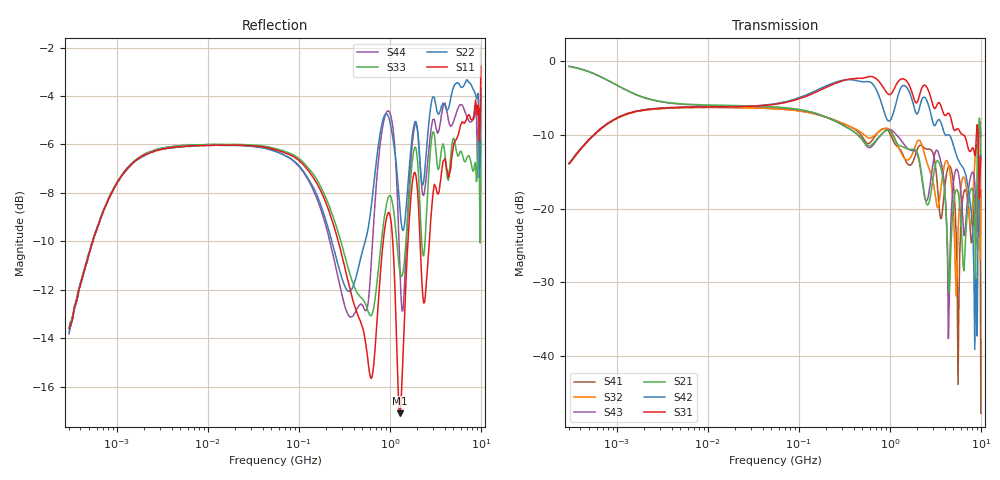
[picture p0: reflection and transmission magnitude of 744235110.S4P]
! This data is being provided by Wuerth Elektronik eiSos GmbH & Co. KG to the industry for analysis.
! Document information:
! Version:rev19a Date: 16/12/2019
! Component information:
! Match Code: WE-CNSW P/N: 744235110 Size: 1812
! Disclaimer:  While Würth Elektronik eiSos has made every reasonable effort to ensure the accuracy
! of the information provided, Würth Elektronik eiSos does not guarantee the exemption of error on the
! data collection measurements, nor does Würth Elektronik eiSos guarantee that the information is current.
! Würth Elektronik eiSos reserves the right to make any adjustments at any time without notice.
! Würth Elektronik eiSos expressly disclaims all implied warranties regarding this measurement data collection.
! Note 1  This data measurement is representative according to the product implementation into the fixture.
! Component behavior is sensitive to implementation into the fixture, which includes board
! materials, trace geometry information, connector pin out, layer connection, use of de-embedding
! techniques, etc.
! Note 2 - The fixture was designed specifically to match the 50 Ohm line impedance, as well as the connector impedance,
! in order to accomplish a reliable measurement without reflections in the trace. Any other implementation of the fixture will change the obtained
! measurement performance. The used fixture behavior was de-embedded to accomplish reliable measurement results.
! The test setup consisted of the following:
!  - Agilent VNA E5071C or E5071B
!  - Calibrations are SOLT (short open load thru)
!  - De-embedding of the SMA's or line cards were included
!  - Equipment Settings -
!  - Sampling - 501 points
!  - IF BW  70 kHz
!  - Averaging  Not used
!  Port 1----->|1|  |2| -----> Port 3
!  |  DUT  |
!  Port 2----->|3|  |4| -----> Port 4
!*VNA Port --> |Port in Datasheet|
! |Port in Datasheet| --> VNA Port
! For further information regarding this testing, please contact
! Wuerth Elektronik eiSos
! Contact: EDA team in QDC
! Email: libraries@we-online.com or libraries@we-online.de
# Hz S dB R 50
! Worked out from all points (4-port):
!   501 points, 300 kHz to 10 GHz, reference 50 ohm
!   strongest paths, dB at 300 kHz, 4.054 MHz, 54.77 MHz, 740.1 MHz, 10 GHz:
!     S31: -13.8, -6.3, -5.8, -2.5, -13.1
!     S42: -13.8, -6.3, -5.7, -4.3, -12.8
!     S21: -0.7, -5.6, -6.2, -10.4, -13.1
!     S43: -0.6, -5.7, -6.2, -10.5, -10.2
!     S32: -13.8, -6.3, -6.4, -9.6, -17.4
!     S41: -13.9, -6.3, -6.4, -9.6, -47.8
!   lowest |S11| = -17.1 dB at 1.285 GHz (marker M1), VSWR 1.32, Z = 64.3 - j7.15 ohm
!   |S11| at or under -10 dB: 271.1 MHz to 846.7 MHz (575.5 MHz wide, 103 % of centre); 1.076 GHz to 1.581 GHz (505.6 MHz wide, 38.1 % of centre); 2.148 GHz to 2.72 GHz (572.4 MHz wide, 23.5 % of centre)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
300000  -13.61 63.5  -0.68 -11.3  -13.77 65.4  -13.90 -114.7
        -0.69 -11.6  -13.77 64.2  -13.91 -114.9  -13.86 65.5
        -13.84 64.8  -13.84 -114.8  -13.59 65.8  -0.66 -11.5
        -13.90 -115.4  -13.81 65.9  -0.64 -11.6  -13.82 64.2
1.285302e9  -17.11 -23.0  -11.44 67.4  -2.50 -26.6  -11.87 -86.6
            -11.43 67.4  -8.56 -32.1  -12.03 -116.2  -3.90 -20.1
            -2.49 -26.6  -12.04 -116.2  -11.21 -23.9  -10.45 70.0
            -11.88 -86.6  -3.89 -20.1  -10.45 70.0  -10.94 -45.9
3.488232e9  -7.93 -40.8  -13.78 -9.9  -5.61 -79.4  -19.96 -170.5
            -13.77 -10.0  -4.72 -49.4  -18.99 128.3  -7.90 -82.9
            -5.59 -79.5  -19.00 128.3  -6.95 -51.5  -12.75 -4.8
            -19.96 -170.8  -7.89 -83.0  -12.75 -4.8  -5.36 -46.0
4.398896e9  -7.37 -62.0  -29.35 -173.9  -7.02 -95.4  -14.30 -8.8
            -29.38 -174.7  -4.53 -67.8  -13.94 -22.3  -9.95 -98.4
            -7.01 -95.5  -13.96 -22.4  -7.48 -70.7  -37.68 -160.7
            -14.28 -9.1  -9.95 -98.5  -37.62 -162.0  -5.00 -70.7
5.35337e9  -5.80 -85.9  -17.47 -27.6  -9.24 -106.6  -23.54 -117.7
           -17.46 -27.8  -3.47 -91.4  -31.98 -40.4  -12.62 -116.9
           -9.25 -106.8  -31.89 -40.2  -6.24 -102.0  -14.64 -30.8
           -23.57 -118.5  -12.61 -116.9  -14.63 -30.9  -4.72 -92.0
8.747781e9  -4.17 -135.6  -29.53 127.4  -12.25 -147.0  -18.04 -102.6
            -29.62 126.8  -3.93 -153.9  -12.20 -98.6  -29.50 -86.1
            -12.23 -147.4  -12.21 -98.6  -6.74 -130.7  -19.06 172.2
            -17.93 -103.1  -29.72 -85.6  -19.05 172.5  -4.41 -138.7
1e10  -2.77 -149.8  -13.12 146.7  -13.08 168.0  -44.43 67.7
      -13.13 146.1  -3.90 -168.7  -17.43 -62.3  -12.76 -74.8
      -13.10 167.3  -17.43 -61.4  -5.81 -133.2  -10.23 164.0
      -47.77 71.4  -12.75 -74.6  -10.15 163.7  -3.67 -138.2
